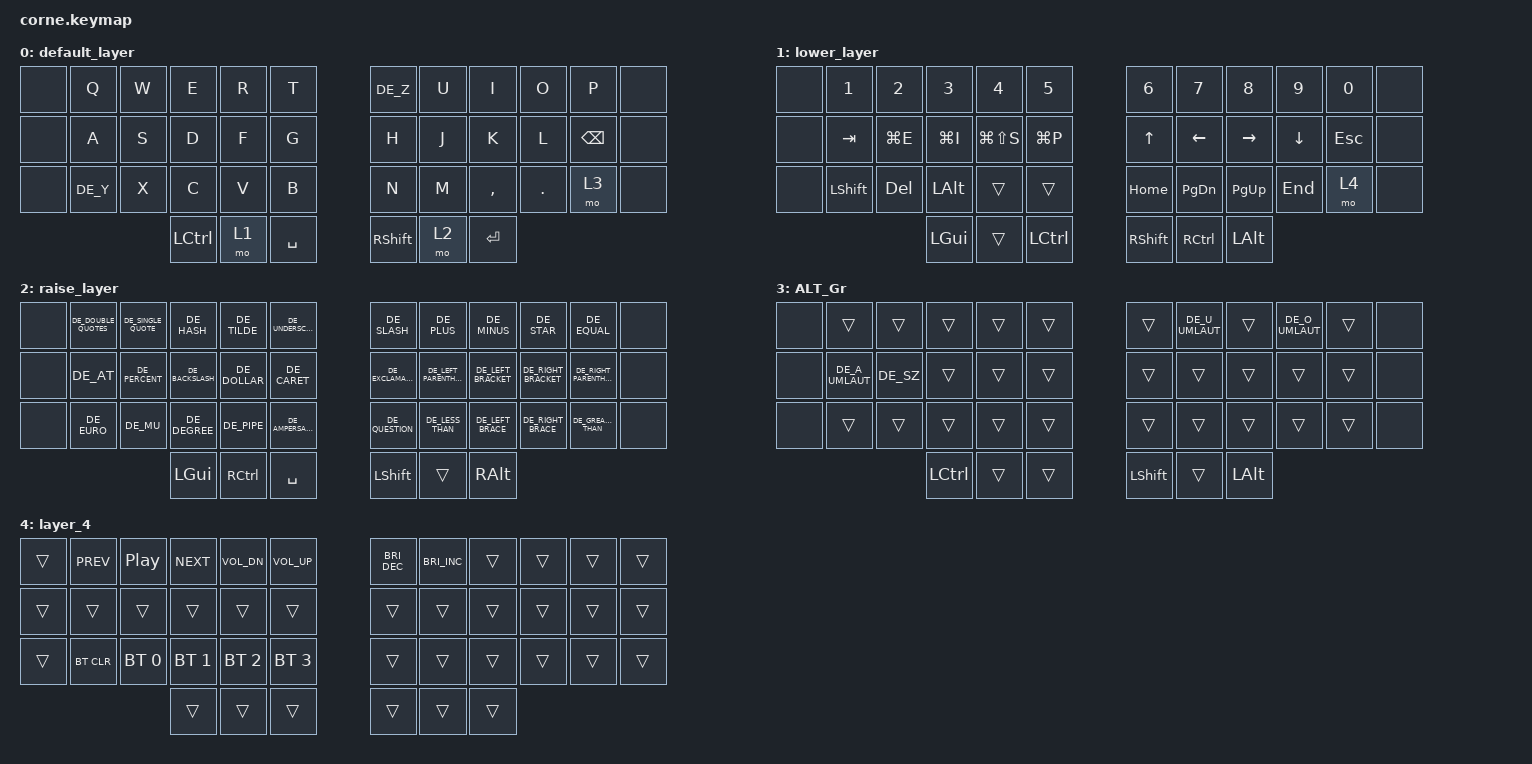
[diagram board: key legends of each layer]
/*
 * Copyright (c) 2020 The ZMK Contributors
 *
 * SPDX-License-Identifier: MIT
 */

#include <behaviors.dtsi>
#include <dt-bindings/zmk/bt.h>
#include <dt-bindings/zmk/keys.h>
#include "keys_de.h"

/ {
    keymap {
        compatible = "zmk,keymap";

        default_layer {
            // -----------------------------------------------------------------------------------------
            // |  TAB |  Q  |  W  |  E  |  R  |  T  |   |  Y  |  U   |  I  |  O  |  P  | BKSP |
            // | CTRL |  A  |  S  |  D  |  F  |  G  |   |  H  |  J   |  K  |  L  |  ;  |  '   |
            // | SHFT |  Z  |  X  |  C  |  V  |  B  |   |  N  |  M   |  ,  |  .  |  /  | ESC  |
            //                    | GUI | LWR | SPC |   | ENT | RSE  | ALT |

            bindings = <
&none  &kp Q     &kp W  &kp E      &kp R  &kp T        &kp DE_Z         &kp U  &kp I      &kp O    &kp P          &none
&none  &kp A     &kp S  &kp D      &kp F  &kp G        &kp H            &kp J  &kp K      &kp L    &kp BACKSPACE  &none
&none  &kp DE_Y  &kp X  &kp C      &kp V  &kp B        &kp N            &kp M  &kp COMMA  &kp DOT  &mo 3          &none
                        &kp LCTRL  &mo 1  &kp SPACE    &kp RIGHT_SHIFT  &mo 2  &kp ENTER
            >;
        };

        lower_layer {
            // -----------------------------------------------------------------------------------------
            // |  TAB |  1  |  2  |  3  |  4  |  5  |   |  6  |  7  |  8  |  9  |  0  | BKSP |
            // | BTCLR| BT1 | BT2 | BT3 | BT4 | BT5 |   | LFT | DWN |  UP | RGT |     |      |
            // | SHFT |     |     |     |     |     |   |     |     |     |     |     |      |
            //                    | GUI |     | SPC |   | ENT |     | ALT |

            bindings = <
&none  &kp N1          &kp N2      &kp N3        &kp N4         &kp N5       &kp N6           &kp N7         &kp N8        &kp N9    &kp N0      &none
&none  &kp TAB         &kp LG(E)   &kp LG(I)     &kp LG(LS(S))  &kp LG(P)    &kp UP           &kp LEFT       &kp RIGHT     &kp DOWN  &kp ESCAPE  &none
&none  &kp LEFT_SHIFT  &kp DELETE  &kp LEFT_ALT  &trans         &trans       &kp HOME         &kp PAGE_DOWN  &kp PAGE_UP   &kp END   &mo 4       &none
                                   &kp LGUI      &trans         &kp LCTRL    &kp RIGHT_SHIFT  &kp RCTRL      &kp LEFT_ALT
            >;
        };

        raise_layer {
            // -----------------------------------------------------------------------------------------
            // |  TAB |  !  |  @  |  #  |  $  |  %  |   |  ^  |  &  |  *  |  (  |  )  | BKSP |
            // | CTRL |     |     |     |     |     |   |  -  |  =  |  [  |  ]  |  \  |  `   |
            // | SHFT |     |     |     |     |     |   |  _  |  +  |  {  |  }  | "|" |  ~   |
            //                    | GUI |     | SPC |   | ENT |     | ALT |

            bindings = <
&none  &kp DE_DOUBLE_QUOTES  &kp DE_SINGLE_QUOTE  &kp DE_HASH       &kp DE_TILDE   &kp DE_UNDERSCORE    &kp DE_SLASH        &kp DE_PLUS              &kp DE_MINUS         &kp DE_STAR           &kp DE_EQUAL              &none
&none  &kp DE_AT             &kp DE_PERCENT       &kp DE_BACKSLASH  &kp DE_DOLLAR  &kp DE_CARET         &kp DE_EXCLAMATION  &kp DE_LEFT_PARENTHESIS  &kp DE_LEFT_BRACKET  &kp DE_RIGHT_BRACKET  &kp DE_RIGHT_PARENTHESIS  &none
&none  &kp DE_EURO           &kp DE_MU            &kp DE_DEGREE     &kp DE_PIPE    &kp DE_AMPERSAND     &kp DE_QUESTION     &kp DE_LESS_THAN         &kp DE_LEFT_BRACE    &kp DE_RIGHT_BRACE    &kp DE_GREATER_THAN       &none
                                                  &kp LGUI          &kp RCTRL      &kp SPACE            &kp LEFT_SHIFT      &trans                   &kp RALT
            >;
        };

        ALT_Gr {
            bindings = <
&none  &trans           &trans     &trans            &trans  &trans    &trans          &kp DE_U_UMLAUT  &trans        &kp DE_O_UMLAUT  &trans  &none
&none  &kp DE_A_UMLAUT  &kp DE_SZ  &trans            &trans  &trans    &trans          &trans           &trans        &trans           &trans  &none
&none  &trans           &trans     &trans            &trans  &trans    &trans          &trans           &trans        &trans           &trans  &none
                                   &kp LEFT_CONTROL  &trans  &trans    &kp LEFT_SHIFT  &trans           &kp LEFT_ALT
            >;
        };

        layer_4 {
            bindings = <
&trans  &kp C_PREV  &kp C_PLAY_PAUSE  &kp C_NEXT    &kp C_VOL_DN  &kp C_VOL_UP    &kp C_BRIGHTNESS_DEC  &kp C_BRIGHTNESS_INC  &trans  &trans  &trans  &trans
&trans  &trans      &trans            &trans        &trans        &trans          &trans                &trans                &trans  &trans  &trans  &trans
&trans  &bt BT_CLR  &bt BT_SEL 0      &bt BT_SEL 1  &bt BT_SEL 2  &bt BT_SEL 3    &trans                &trans                &trans  &trans  &trans  &trans
                                      &trans        &trans        &trans          &trans                &trans                &trans
            >;
        };
    };
};
